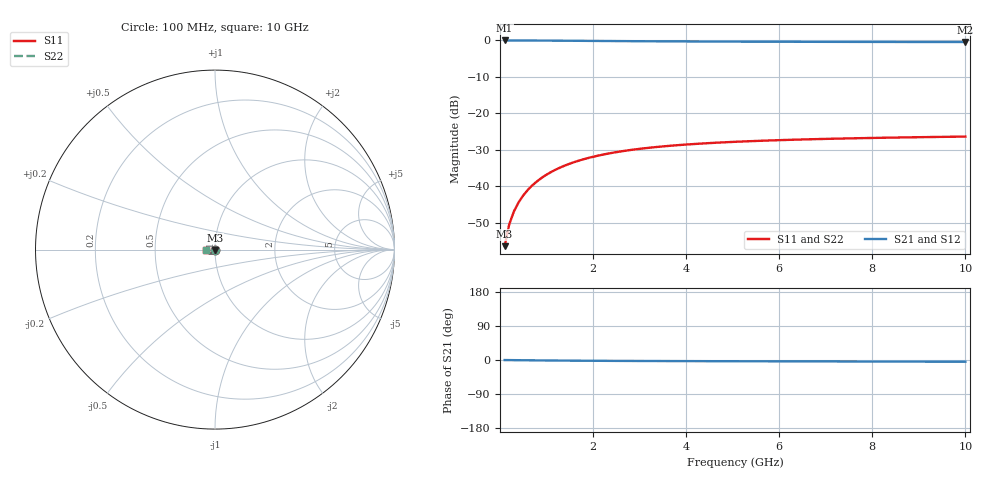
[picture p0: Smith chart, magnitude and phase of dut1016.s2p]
! Touchstone file exported from HFSS 2024.1.0
!  File:  C:/UserFiles/LocalFiles/RDL_TSV_Batchsim/temp_TSV1_1016_1780059374.aedt
!  Generated:  09:00:25 PM May 29, 2026
!  Design:  TSV1
!  Project:  temp_TSV1_1016_1780059374
!  Setup:  Setup1
!  Solution:  Sweep
! Variables:
!  dtsv = 14.41um
!  hbump = 3um
!  htsv = 68.21um
!  lrdl = 252.1521522um
!  p = 40
!  p1 = 57.62um
!  t = 500um
!  trdl = 3um
!  wrdl = 24.89489489um
# GHz S MA R 50.000000
! Terminal data exported
! Port[1] = TSV22_T1
! Port[2] = TSV22_T2
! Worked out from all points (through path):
!   100 points, 100 MHz to 10 GHz, reference 50 ohm
!   highest |S21| = 0.00 dB at 100 MHz (marker M1); lowest = -0.4 dB at 10 GHz (marker M2)
!   lowest |S11| = -56.4 dB at 100 MHz (marker M3), VSWR 1.00, Z = 50 - j0.151 ohm
!   |S11| at or under -10 dB: start of sweep to end of sweep
!   |S22| runs from -56.4 to -26.4 dB; largest |S21 - S12| = 3.7e-15
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0.1  0.001506 -89.2  0.9999 -0.1  0.9999 -0.1  0.001506 -89.2
! Gamma 0 0 0 0
! Port Impedance 50 0 50 0
0.2  0.00301 -92.4  0.9997 -0.3  0.9997 -0.3  0.00301 -92.4
0.3  0.004511 -94.8  0.9994 -0.4  0.9994 -0.4  0.004511 -94.8
0.4  0.006001 -96.9  0.999 -0.5  0.999 -0.5  0.006001 -96.9
0.5  0.007474 -99.0  0.9986 -0.6  0.9986 -0.6  0.007474 -99.0
0.6  0.008923 -101.1  0.998 -0.8  0.998 -0.8  0.008923 -101.1
0.7  0.01034 -103.1  0.9974 -0.9  0.9974 -0.9  0.01034 -103.1
0.8  0.01173 -105.0  0.9967 -1.0  0.9967 -1.0  0.01173 -105.0
0.9  0.01309 -106.9  0.9959 -1.1  0.9959 -1.1  0.01309 -106.9
1.1  0.01569 -110.6  0.9943 -1.3  0.9943 -1.3  0.01569 -110.6
1.4  0.01929 -115.7  0.9914 -1.6  0.9914 -1.6  0.01929 -115.7
1.6  0.02147 -118.9  0.9895 -1.8  0.9895 -1.8  0.02147 -118.9
1.8  0.02349 -122.0  0.9874 -1.9  0.9874 -1.9  0.02349 -122.0
2.1  0.02623 -126.2  0.9844 -2.1  0.9844 -2.1  0.02623 -126.2
2.5  0.02936 -131.3  0.9806 -2.4  0.9806 -2.4  0.02936 -131.3
2.9  0.03199 -135.8  0.977 -2.5  0.977 -2.5  0.03199 -135.8
3.4  0.03471 -140.7  0.9731 -2.7  0.9731 -2.7  0.03471 -140.7
4.2  0.03806 -147.4  0.9679 -3.0  0.9679 -3.0  0.03806 -147.4
5.1  0.04082 -153.4  0.9634 -3.3  0.9634 -3.3  0.04082 -153.4
6.7  0.04415 -161.9  0.9577 -3.7  0.9577 -3.7  0.04415 -161.9
8.4  0.04645 -168.8  0.9538 -4.2  0.9538 -4.2  0.04645 -168.8
10  0.04799 -174.2  0.9513 -4.6  0.9513 -4.6  0.04799 -174.2
